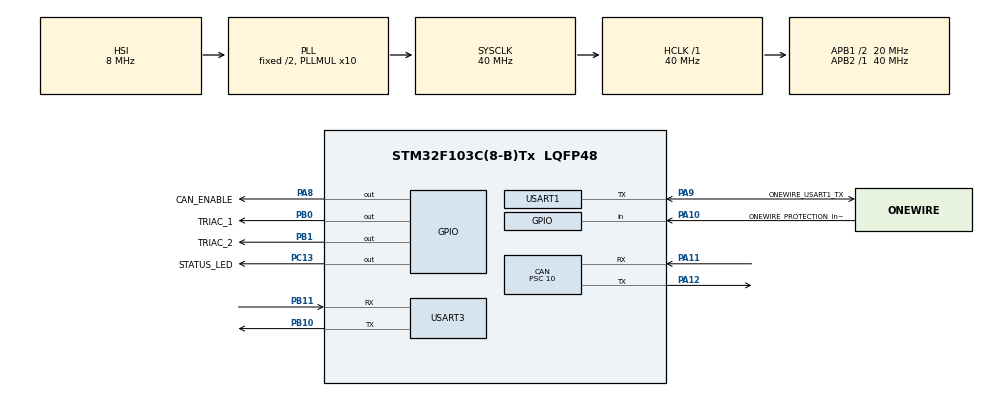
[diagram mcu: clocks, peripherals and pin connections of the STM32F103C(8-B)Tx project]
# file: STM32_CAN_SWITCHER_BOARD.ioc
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CAN.BS1=CAN_BS1_13TQ
CAN.BS2=CAN_BS2_2TQ
CAN.CalculateBaudRate=125000
CAN.CalculateTimeBit=8000
CAN.CalculateTimeQuantum=500.0
CAN.Prescaler=10
Dma.Request0=USART3_TX
Dma.Request1=USART1_RX
Dma.Request2=USART1_TX
Dma.USART1_RX.1.Direction=DMA_PERIPH_TO_MEMORY
Dma.USART1_RX.1.Instance=DMA1_Channel5
Dma.USART1_RX.1.MemDataAlignment=DMA_MDATAALIGN_BYTE
Dma.USART1_RX.1.MemInc=DMA_MINC_ENABLE
Dma.USART1_RX.1.Mode=DMA_NORMAL
Dma.USART1_RX.1.PeriphDataAlignment=DMA_PDATAALIGN_BYTE
Dma.USART1_RX.1.PeriphInc=DMA_PINC_DISABLE
Dma.USART1_RX.1.Priority=DMA_PRIORITY_LOW
Dma.USART1_TX.2.Direction=DMA_MEMORY_TO_PERIPH
Dma.USART1_TX.2.Instance=DMA1_Channel4
Dma.USART1_TX.2.MemDataAlignment=DMA_MDATAALIGN_BYTE
Dma.USART1_TX.2.MemInc=DMA_MINC_ENABLE
Dma.USART1_TX.2.Mode=DMA_NORMAL
Dma.USART1_TX.2.PeriphDataAlignment=DMA_PDATAALIGN_BYTE
Dma.USART1_TX.2.PeriphInc=DMA_PINC_DISABLE
Dma.USART1_TX.2.Priority=DMA_PRIORITY_LOW
Dma.USART3_TX.0.Direction=DMA_MEMORY_TO_PERIPH
Dma.USART3_TX.0.Instance=DMA1_Channel2
Dma.USART3_TX.0.MemDataAlignment=DMA_MDATAALIGN_BYTE
Dma.USART3_TX.0.MemInc=DMA_MINC_ENABLE
Dma.USART3_TX.0.Mode=DMA_NORMAL
Dma.USART3_TX.0.PeriphDataAlignment=DMA_PDATAALIGN_BYTE
Dma.USART3_TX.0.PeriphInc=DMA_PINC_DISABLE
Dma.USART3_TX.0.Priority=DMA_PRIORITY_LOW
Mcu.Family=STM32F1
Mcu.Name=STM32F103C(8-B)Tx
Mcu.Package=LQFP48
NVIC.DMA1_Channel2_IRQn=true\:0\:0\:false\:false\:true\:false\:true\:true
NVIC.DMA1_Channel4_IRQn=true\:0\:0\:false\:false\:true\:false\:true\:true
NVIC.DMA1_Channel5_IRQn=true\:0\:0\:false\:false\:true\:false\:true\:true
NVIC.PriorityGroup=NVIC_PRIORITYGROUP_4
NVIC.TIM4_IRQn=true\:0\:0\:false\:false\:true\:true\:true\:true
NVIC.USART1_IRQn=true\:0\:0\:false\:false\:true\:true\:true\:true
NVIC.USART3_IRQn=true\:0\:0\:false\:false\:true\:true\:true\:true
PA10.GPIO_Label=ONEWIRE_PROTECTION_Input
PA10.GPIO_PuPd=GPIO_PULLUP
PA10.Signal=GPIO_Input
PA11.Mode=CAN_Activate
PA11.Signal=CAN_RX
PA12.Mode=CAN_Activate
PA12.Signal=CAN_TX
PA13.Mode=Serial_Wire
PA13.Signal=SYS_JTMS-SWDIO
PA14.Mode=Serial_Wire
PA14.Signal=SYS_JTCK-SWCLK
PA8.GPIO_Label=CAN_ENABLE
PA8.Signal=GPIO_Output
PA9.GPIO_Label=ONEWIRE_USART1_TX
PA9.Mode=Half_duplex(single_wire_mode)
PA9.Signal=USART1_TX
PB0.GPIO_Label=TRIAC_1
PB0.GPIO_ModeDefaultOutputPP=GPIO_MODE_OUTPUT_OD
PB0.GPIO_PuPd=GPIO_NOPULL
PB0.PinState=GPIO_PIN_SET
PB0.Signal=GPIO_Output
PB1.GPIO_Label=TRIAC_2
PB1.GPIO_ModeDefaultOutputPP=GPIO_MODE_OUTPUT_OD
PB1.GPIO_PuPd=GPIO_NOPULL
PB1.PinState=GPIO_PIN_SET
PB1.Signal=GPIO_Output
PB10.Mode=Asynchronous
PB10.Signal=USART3_TX
PB11.Mode=Asynchronous
PB11.Signal=USART3_RX
PC13-TAMPER-RTC.GPIO_Label=STATUS_LED
PC13-TAMPER-RTC.GPIO_ModeDefaultOutputPP=GPIO_MODE_OUTPUT_PP
PC13-TAMPER-RTC.GPIO_PuPd=GPIO_NOPULL
PC13-TAMPER-RTC.Signal=GPIO_Output
ProjectManager.HeapSize=0x200
ProjectManager.StackSize=0x400
ProjectManager.TargetToolchain=Makefile
RCC.AHBFreq_Value=40000000
RCC.APB1CLKDivider=RCC_HCLK_DIV2
RCC.APB1Freq_Value=20000000
RCC.APB1TimFreq_Value=40000000
RCC.APB2Freq_Value=40000000
RCC.APB2TimFreq_Value=40000000
RCC.HCLKFreq_Value=40000000
RCC.PLLMUL=RCC_PLL_MUL10
RCC.SYSCLKFreq_VALUE=40000000
RCC.SYSCLKSource=RCC_SYSCLKSOURCE_PLLCLK
RCC.USBFreq_Value=40000000
TIM4.AutoReloadPreload=TIM_AUTORELOAD_PRELOAD_ENABLE
TIM4.Period=100
TIM4.Prescaler=40
USART1.VirtualMode=VM_ASYNC
USART3.VirtualMode=VM_ASYNC
VP_TIM4_VS_ClockSourceINT.Mode=Internal
board=custom

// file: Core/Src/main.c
/* USER CODE BEGIN Header */
/**
  ******************************************************************************
  * @file           : main.c
  * @brief          : Main program body
  ******************************************************************************
  * @attention
  *
  * Copyright (c) 2022 STMicroelectronics.
  * All rights reserved.
  *
  * This software is licensed under terms that can be found in the LICENSE file
  * in the root directory of this software component.
  * If no LICENSE file comes with this software, it is provided AS-IS.
  *
  ******************************************************************************
  */
/* USER CODE END Header */
#include "main.h"

/* USER CODE BEGIN Includes */
#include <stdio.h>
#include "DallasTemperature.h"
#include "OneWire.h"
/* USER CODE END Includes */

CAN_HandleTypeDef hcan;

TIM_HandleTypeDef htim4;

UART_HandleTypeDef huart1;
UART_HandleTypeDef huart3;
DMA_HandleTypeDef hdma_usart1_rx;
DMA_HandleTypeDef hdma_usart1_tx;
DMA_HandleTypeDef hdma_usart3_tx;

void SystemClock_Config(void);
static void MX_GPIO_Init(void);
static void MX_DMA_Init(void);
static void MX_CAN_Init(void);
static void MX_USART3_UART_Init(void);
static void MX_TIM4_Init(void);
static void MX_USART1_UART_Init(void);
/* USER CODE BEGIN PFP */

void reset_DS_sensor(void);

/* USER CODE END PFP */

/* USER CODE BEGIN 0 */
/*
  these below suspends warning but may be not good
  https://stackoverflow.com/questions/73742774/gcc-arm-none-eabi-11-3-is-not-implemented-and-will-always-fail
*/
/* suspends warning >>>> */
int _close(int file) { return -1; }
void _lseek(void) {}
void _read(void) {}
int _fstat_r(void) { return -1; }
int _getpid_r(void) { return -1; }
int _isatty_r(void) { return -1; }
int _kill_r(/* struct _reent */ void  *ptr, int pid, int sig) { return -1; }
// int _write(int file, char *ptr, int len) {
//   int todo;
//   for (todo = 0; todo < len; todo++) {
//     // outbyte (*ptr++);
//   }
//   return len;
// }

/* suspends warning <<<< */

int _write(int file, char *ptr, int len)
{
  // HAL_UART_Transmit(&huart3, (uint8_t *)ptr, len, HAL_MAX_DELAY);
  HAL_UART_Transmit_DMA(&huart3, (uint8_t *)ptr, len);
  uint32_t tickstart = 0U;
  tickstart = HAL_GetTick();

  while (HAL_UART_GetState(&huart3) != HAL_UART_STATE_READY)
  {
    if ((HAL_GetTick() - tickstart) > 500)
    {
      // return OW_TIMEOUT;
      return 0;
    }
  }
  return len;
}

//#define BOILER_TEMP_CAN_ID 0x0d0
#define BOILER_TEMP_CAN_ID 0x0d0
//#define RELAY_CONTROL_CAN_ID 0x080
#define RELAY_CONTROL_CAN_ID 0x090
//#define RELAY_STATUS_CAN_ID 0x081
// #define RELAY_STATUS_CAN_ID 0x091
#define PUMP_STATUS_CAN_ID 0x091

#define DATA_WAIT_TIMEOUT 10

CAN_FilterTypeDef sFilterConfig;
CAN_TxHeaderTypeDef TxHeader;
CAN_RxHeaderTypeDef RxHeader;
uint8_t TxData[8];
uint8_t RxData[8];
uint32_t TxMailbox;

// static u8g2_t u8g2;

int32_t temperature;
uint32_t pressure;
uint32_t humidity;
float input_packet_boiler_temperature;
volatile uint8_t relays_status = 0x0;

#define TEMPERATURE_ERROR_TIMEOUT_CNT_MAX  10*1000*5  /* 100 nano 1 tick */
volatile uint32_t temperature_error_timeout_cnt = 0;

volatile uint8_t input_packet_boiler_timeout = 0;

/* for human testing */
// #define PUMP_TEMP_HIST_ON   (int16_t)25
// #define PUMP_TEMP_HIST_OFF  (int16_t)22

/* real */
#define PUMP_TEMP_HIST_ON   (int16_t)55
#define PUMP_TEMP_HIST_OFF  (int16_t)40

volatile uint8_t global_pump_flag = 0; /* on-off flag */

volatile uint8_t global_ds_error = 0;

volatile uint8_t temperature1timeout = 0;
volatile uint8_t temperature2timeout = 0;
volatile uint8_t humidity1timeout = 0;
volatile uint8_t humidity2timeout = 0;

#define GLOBAL_TEMPERATURES_ARRAY_LENGTH  5
volatile uint8_t global_temperatures_array_cnt = 0;
volatile int16_t global_temperatures_array[GLOBAL_TEMPERATURES_ARRAY_LENGTH] = {-127};

// Function to sort the array using Bubble Sort
void bubbleSort(int16_t *arr, uint8_t arr_l)
{
  uint8_t i, j;
  for (i = 0; i < arr_l - 1; i++)
  {
    for (j = 0; j < arr_l - i - 1; j++)
    {
      if (arr[j] > arr[j + 1])
      {
        // Swap temp and arr[i]
        int16_t temp = arr[j];
        arr[j] = arr[j + 1];
        arr[j + 1] = temp;
      }
    }
  }
}

// Function to calculate mean of middle three values
int16_t meanOfMiddleThreeOfFive(int16_t * arr/* , uint8_t arr_l */) {
    uint8_t arr_l = 5;

    bubbleSort(arr, arr_l);  // Sort the array
    return (arr[1] + arr[2] + arr[3]) / 3;  // Sum and divide middle three values
}

// int main() {
//     float tempValues[5] = {34.5, 36.1, 37.2, 35.5, 33.8};
//     float mean = meanOfMiddleThree(tempValues, 5);
//     printf("Mean of middle three temperatures: %f\n", mean);
//     return 0;
// }

// function to print a device address
void printAddress(CurrentDeviceAddress deviceAddress)
{
  for (uint8_t i = 0; i < 8; i++)
  {
    char buf[4];
    sprintf(buf, "%02X ", deviceAddress[i]);
    printf(buf);
  }
}

void read_and_send_ds_data(void) {
  printf("Requesting temperatures...");

  char buf[50];
  DT_RequestTemperatures(); // Send the command to get temperatures
  printf("DONE\r\n");
  // After we got the temperatures, we can print them here.
  // We use the function ByIndex, and as an example get the temperature from the first sensor only.
  printf("Temperature for the device 1 (index 0) is: ");

  float ds_temperature = DEVICE_DISCONNECTED_C;
  int8_t err_c = DT_GetTempCByIndex(0, &ds_temperature);
  // float ds_temperature = DT_GetTempCByIndex(0);
  // sprintf(buf, "\n ds_temperature %.4f\r\n", ds_temperature);
  sprintf(buf, "\n err_c %i ds_temperature %f\r\n", err_c, ds_temperature);
  printf(buf);

  float value = ds_temperature;
  int value_int = (int)(value * 1000);               // Convert to an integer with 3 decimal places preserved
  printf("ds_temperature = %d.%d\n", value_int / 1000, value_int % 1000); // Print as two integers

  /* set global_temperatures_array >>> */
  global_temperatures_array[global_temperatures_array_cnt] = (int16_t)ds_temperature;
  global_temperatures_array_cnt++;
  if (global_temperatures_array_cnt >= GLOBAL_TEMPERATURES_ARRAY_LENGTH) {
    global_temperatures_array_cnt = 0;
  }
  /* set global_temperatures_array calc mean temp<<< */

  /* calc mean temp >>> */
  uint8_t temp_arr_l = 5;
  int16_t temp_arr[5] = {0};
  for (uint8_t i = 0; i < temp_arr_l; i++)
  {
    temp_arr[i] = global_temperatures_array[i];
  }
  int16_t mean_temp = meanOfMiddleThreeOfFive(temp_arr);
  printf("mean_temp %d\n", mean_temp);
  // int16_t temp_arr_test[5] = {0, 10, 12, 23, 100};
  // int16_t mean_temp_test = meanOfMiddleThreeOfFive(temp_arr_test);
  // printf("mean_temp_test 15 == %d?\n", mean_temp_test);

  /* calc mean temp <<< */

  /* temperature_error_timeout_cnt <<< */
  if (err_c == 0) {
    temperature_error_timeout_cnt = 0;
  }
  /* temperature_error_timeout_cnt <<< */

  /* check if pump need to be ON >>> */

  uint8_t tmp_flag = global_pump_flag;
  /* if already OFF */
  if (tmp_flag == 0) {
    if (mean_temp >= PUMP_TEMP_HIST_ON) {
      tmp_flag = 1;
    }
  /* if already ON */
  } else {
    if (mean_temp <= PUMP_TEMP_HIST_OFF) {
      tmp_flag = 0;
    }
  }

  if (temperature_error_timeout_cnt >= TEMPERATURE_ERROR_TIMEOUT_CNT_MAX) {
    printf("temperature_error_timeout_cnt > MAX VALUE\n");

    /* force ON */
    tmp_flag = 1;
  }

  global_pump_flag = tmp_flag;

  if (global_pump_flag > 0) {
    /* low lvl active */
    HAL_GPIO_WritePin(TRIAC_1_GPIO_Port, TRIAC_1_Pin, 0);
  } else {
    HAL_GPIO_WritePin(TRIAC_1_GPIO_Port, TRIAC_1_Pin, 1);
  }

  /* check if pump need to be ON <<< */

  TxHeader.StdId = BOILER_TEMP_CAN_ID;
  TxHeader.DLC = 5;
  uint8_t protection_staus = HAL_GPIO_ReadPin(ONEWIRE_PROTECTION_Input_GPIO_Port, ONEWIRE_PROTECTION_Input_Pin);
  printf("ds_short circuit = %d\n", protection_staus); // Print as two integers

  /* set onewire reading error */
  uint8_t temp_sens_error = err_c;
  /* set power short circuit protection */
  if (protection_staus == 0) { /* low means protection was triggered */
    temp_sens_error = temp_sens_error | 0b10000000;
  }

  TxData[0] = temp_sens_error;

  /* copy temperature value */
  for (int i=0; i<4 ;++i) {
    TxData[i + 1] = ((uint8_t*)&ds_temperature)[i];
  }
  HAL_CAN_AddTxMessage(&hcan, &TxHeader, TxData, &TxMailbox);

  /* try to reset ds setting after disconnect */
  if (global_ds_error != 0) {
    if (temp_sens_error == 0) {
      printf("\ntry to reset ds settings\n");
      reset_DS_sensor();
    }
  }
  global_ds_error = temp_sens_error;

  // HAL_Delay(2500);
  // /* send relays status */
  // TxHeader.StdId = RELAY_STATUS_CAN_ID;
  // TxHeader.DLC = 1;
  // TxData[0] = relays_status;
  // HAL_CAN_AddTxMessage(&hcan, &TxHeader, TxData, &TxMailbox);
}

void reset_DS_sensor(void)
{

  // locate devices on the bus
  char buf[30];

  // arrays to hold device address
  CurrentDeviceAddress insideThermometer;

  uint8_t ds_error = 0;

  OW_Reset();

  if (OW_Reset() == OW_OK)
  {
    printf("[%8lu] OneWire 1 line devices are present :)\r\n", HAL_GetTick());
  }
  else
  {
    printf("[%8lu] OneWire 1 line no devices :(\r\n", HAL_GetTick());
  }

  DT_SetWaitForConversion(1);

  printf("Locating devices...\n");
  ds_error = DT_Begin();
  if (ds_error != DS_OK)
  {
    sprintf(buf, "DT_Begin err %d \n", ds_error);
    printf(buf);
  }

  printf("Found ");
  sprintf(buf, "%d devices.\n", DT_GetDeviceCount());
  printf(buf);

  // report parasite power requirements
  printf("Parasite power is: ");
  if (DT_IsParasitePowerMode())
    printf("ON\r\n");
  else
    printf("OFF\r\n");

  if (!DT_GetAddress(insideThermometer, 0))
    printf("Unable to find address for Device 0\r\n");

  printf("Device 0 Address: ");
  printAddress(insideThermometer);
  printf("\r\n");

  // set the resolution to 12 bit (Each Dallas/Maxim device is capable of several different resolutions)
  DT_SetResolution(insideThermometer, 12, true);

  printf("Device 0 Resolution: ");
  sprintf(buf, "%d", DT_GetResolution(insideThermometer));
  printf(buf);
  printf("\r\n");
}

/* USER CODE END 0 */

int main(void)
{

  /* MCU Configuration--------------------------------------------------------*/

  /* Reset of all peripherals, Initializes the Flash interface and the Systick. */
  HAL_Init();

  /* Configure the system clock */
  SystemClock_Config();

  /* Initialize all configured peripherals */
  MX_GPIO_Init();
  MX_DMA_Init();
  MX_CAN_Init();
  MX_USART3_UART_Init();
  MX_TIM4_Init();
  MX_USART1_UART_Init();
  /* USER CODE BEGIN 2 */

  /* they are open drain and ON if low lvl */
  HAL_GPIO_WritePin(TRIAC_1_GPIO_Port, TRIAC_1_Pin, 1);
  HAL_GPIO_WritePin(TRIAC_2_GPIO_Port, TRIAC_2_Pin, 1);

  HAL_GPIO_WritePin(CAN_ENABLE_GPIO_Port, CAN_ENABLE_Pin, GPIO_PIN_RESET);

  sFilterConfig.FilterBank = 0;
  sFilterConfig.FilterMode = CAN_FILTERMODE_IDMASK;
  sFilterConfig.FilterScale = CAN_FILTERSCALE_32BIT;
  sFilterConfig.FilterIdHigh = 0x0000;
  sFilterConfig.FilterIdLow = 0x0000;
  sFilterConfig.FilterMaskIdHigh = 0x0000;
  sFilterConfig.FilterMaskIdLow = 0x0000;
  sFilterConfig.FilterFIFOAssignment = CAN_RX_FIFO0;
  sFilterConfig.FilterActivation = ENABLE;
  sFilterConfig.SlaveStartFilterBank = 14;
  if (HAL_CAN_ConfigFilter(&hcan, &sFilterConfig) != HAL_OK)
  {
    /* Filter configuration Error */
    Error_Handler();
  }

  if (HAL_CAN_Start(&hcan) != HAL_OK)
  {
    /* Start Error */
    Error_Handler();
  }

  if (HAL_CAN_ActivateNotification(&hcan, CAN_IT_RX_FIFO0_MSG_PENDING | CAN_IT_TX_MAILBOX_EMPTY) != HAL_OK)
  {
    /* Notification Error */
    Error_Handler();
  }

  // TxHeader.StdId = BOILER_TEMP_CAN_ID;
  // TxHeader.ExtId = 0x00;
  // TxHeader.RTR = CAN_RTR_DATA;
  // TxHeader.IDE = CAN_ID_STD;
  // TxHeader.DLC = 4;
  // TxHeader.TransmitGlobalTime = DISABLE;
  // TxData[0] = 1;
  // TxData[1] = 2;
  // TxData[2] = 3;
  // TxData[3] = 4;
  printf("Debug UART is OK!\r\n");

  // if (OW_Reset() == OW_OK)
  // {
  //   printf("OneWire devices are present :)\r\n");
  // }
  // else
  // {
  //   printf("OneWire no devices :(\r\n");
  // }

  /* TIMER */
  HAL_TIM_Base_Start_IT(&htim4);
  /* TIMER */

  OW_Init();
  reset_DS_sensor();

  /* USER CODE END 2 */

  /* Infinite loop */
  while (1)
  {

    /* USER CODE BEGIN 3 */

    HAL_GPIO_TogglePin(STATUS_LED_GPIO_Port, STATUS_LED_Pin);
    // HAL_GPIO_TogglePin(TRIAC_1_GPIO_Port, TRIAC_1_Pin);
    // HAL_GPIO_TogglePin(TRIAC_2_GPIO_Port, TRIAC_2_Pin);

    read_and_send_ds_data();

    // HAL_Delay(250);
    // HAL_Delay(1000);
    // HAL_Delay(2500);
  }
  /* USER CODE END 3 */
}

void SystemClock_Config(void)
{
  RCC_OscInitTypeDef RCC_OscInitStruct = {0};
  RCC_ClkInitTypeDef RCC_ClkInitStruct = {0};

  /** Initializes the RCC Oscillators according to the specified parameters
  * in the RCC_OscInitTypeDef structure.
  */
  RCC_OscInitStruct.OscillatorType = RCC_OSCILLATORTYPE_HSI;
  RCC_OscInitStruct.HSIState = RCC_HSI_ON;
  RCC_OscInitStruct.HSICalibrationValue = RCC_HSICALIBRATION_DEFAULT;
  RCC_OscInitStruct.PLL.PLLState = RCC_PLL_ON;
  RCC_OscInitStruct.PLL.PLLSource = RCC_PLLSOURCE_HSI_DIV2;
  RCC_OscInitStruct.PLL.PLLMUL = RCC_PLL_MUL10;
  if (HAL_RCC_OscConfig(&RCC_OscInitStruct) != HAL_OK)
  {
    Error_Handler();
  }

  /** Initializes the CPU, AHB and APB buses clocks
  */
  RCC_ClkInitStruct.ClockType = RCC_CLOCKTYPE_HCLK|RCC_CLOCKTYPE_SYSCLK
                              |RCC_CLOCKTYPE_PCLK1|RCC_CLOCKTYPE_PCLK2;
  RCC_ClkInitStruct.SYSCLKSource = RCC_SYSCLKSOURCE_PLLCLK;
  RCC_ClkInitStruct.AHBCLKDivider = RCC_SYSCLK_DIV1;
  RCC_ClkInitStruct.APB1CLKDivider = RCC_HCLK_DIV2;
  RCC_ClkInitStruct.APB2CLKDivider = RCC_HCLK_DIV1;

  if (HAL_RCC_ClockConfig(&RCC_ClkInitStruct, FLASH_LATENCY_1) != HAL_OK)
  {
    Error_Handler();
  }
}

static void MX_CAN_Init(void)
{

  hcan.Instance = CAN1;
  hcan.Init.Prescaler = 10;
  hcan.Init.Mode = CAN_MODE_NORMAL;
  hcan.Init.SyncJumpWidth = CAN_SJW_1TQ;
  hcan.Init.TimeSeg1 = CAN_BS1_13TQ;
  hcan.Init.TimeSeg2 = CAN_BS2_2TQ;
  hcan.Init.TimeTriggeredMode = DISABLE;
  hcan.Init.AutoBusOff = DISABLE;
  hcan.Init.AutoWakeUp = DISABLE;
  hcan.Init.AutoRetransmission = DISABLE;
  hcan.Init.ReceiveFifoLocked = DISABLE;
  hcan.Init.TransmitFifoPriority = DISABLE;
  if (HAL_CAN_Init(&hcan) != HAL_OK)
  {
    Error_Handler();
  }

}

static void MX_TIM4_Init(void)
{

  TIM_ClockConfigTypeDef sClockSourceConfig = {0};
  TIM_MasterConfigTypeDef sMasterConfig = {0};

  htim4.Instance = TIM4;
  htim4.Init.Prescaler = 40;
  htim4.Init.CounterMode = TIM_COUNTERMODE_UP;
  htim4.Init.Period = 100;
  htim4.Init.ClockDivision = TIM_CLOCKDIVISION_DIV1;
  htim4.Init.AutoReloadPreload = TIM_AUTORELOAD_PRELOAD_ENABLE;
  if (HAL_TIM_Base_Init(&htim4) != HAL_OK)
  {
    Error_Handler();
  }
  sClockSourceConfig.ClockSource = TIM_CLOCKSOURCE_INTERNAL;
  if (HAL_TIM_ConfigClockSource(&htim4, &sClockSourceConfig) != HAL_OK)
  {
    Error_Handler();
  }
  sMasterConfig.MasterOutputTrigger = TIM_TRGO_RESET;
  sMasterConfig.MasterSlaveMode = TIM_MASTERSLAVEMODE_DISABLE;
  if (HAL_TIMEx_MasterConfigSynchronization(&htim4, &sMasterConfig) != HAL_OK)
  {
    Error_Handler();
  }

}

static void MX_USART1_UART_Init(void)
{

  huart1.Instance = USART1;
  huart1.Init.BaudRate = 115200;
  huart1.Init.WordLength = UART_WORDLENGTH_8B;
  huart1.Init.StopBits = UART_STOPBITS_1;
  huart1.Init.Parity = UART_PARITY_NONE;
  huart1.Init.Mode = UART_MODE_TX_RX;
  huart1.Init.HwFlowCtl = UART_HWCONTROL_NONE;
  huart1.Init.OverSampling = UART_OVERSAMPLING_16;
  if (HAL_HalfDuplex_Init(&huart1) != HAL_OK)
  {
    Error_Handler();
  }

}

static void MX_USART3_UART_Init(void)
{

  huart3.Instance = USART3;
  huart3.Init.BaudRate = 115200;
  huart3.Init.WordLength = UART_WORDLENGTH_8B;
  huart3.Init.StopBits = UART_STOPBITS_1;
  huart3.Init.Parity = UART_PARITY_NONE;
  huart3.Init.Mode = UART_MODE_TX_RX;
  huart3.Init.HwFlowCtl = UART_HWCONTROL_NONE;
  huart3.Init.OverSampling = UART_OVERSAMPLING_16;
  if (HAL_UART_Init(&huart3) != HAL_OK)
  {
    Error_Handler();
  }

}

static void MX_DMA_Init(void)
{

  /* DMA controller clock enable */
  __HAL_RCC_DMA1_CLK_ENABLE();

  /* DMA interrupt init */
  /* DMA1_Channel2_IRQn interrupt configuration */
  HAL_NVIC_SetPriority(DMA1_Channel2_IRQn, 0, 0);
  HAL_NVIC_EnableIRQ(DMA1_Channel2_IRQn);
  /* DMA1_Channel4_IRQn interrupt configuration */
  HAL_NVIC_SetPriority(DMA1_Channel4_IRQn, 0, 0);
  HAL_NVIC_EnableIRQ(DMA1_Channel4_IRQn);
  /* DMA1_Channel5_IRQn interrupt configuration */
  HAL_NVIC_SetPriority(DMA1_Channel5_IRQn, 0, 0);
  HAL_NVIC_EnableIRQ(DMA1_Channel5_IRQn);

}

static void MX_GPIO_Init(void)
{
  GPIO_InitTypeDef GPIO_InitStruct = {0};

  /* GPIO Ports Clock Enable */
  __HAL_RCC_GPIOC_CLK_ENABLE();
  __HAL_RCC_GPIOB_CLK_ENABLE();
  __HAL_RCC_GPIOA_CLK_ENABLE();

  /*Configure GPIO pin Output Level */
  HAL_GPIO_WritePin(STATUS_LED_GPIO_Port, STATUS_LED_Pin, GPIO_PIN_RESET);

  /*Configure GPIO pin Output Level */
  HAL_GPIO_WritePin(GPIOB, TRIAC_1_Pin|TRIAC_2_Pin, GPIO_PIN_SET);

  /*Configure GPIO pin Output Level */
  HAL_GPIO_WritePin(CAN_ENABLE_GPIO_Port, CAN_ENABLE_Pin, GPIO_PIN_RESET);

  /*Configure GPIO pin : STATUS_LED_Pin */
  GPIO_InitStruct.Pin = STATUS_LED_Pin;
  GPIO_InitStruct.Mode = GPIO_MODE_OUTPUT_PP;
  GPIO_InitStruct.Pull = GPIO_NOPULL;
  GPIO_InitStruct.Speed = GPIO_SPEED_FREQ_LOW;
  HAL_GPIO_Init(STATUS_LED_GPIO_Port, &GPIO_InitStruct);

  /*Configure GPIO pins : TRIAC_1_Pin TRIAC_2_Pin */
  GPIO_InitStruct.Pin = TRIAC_1_Pin|TRIAC_2_Pin;
  GPIO_InitStruct.Mode = GPIO_MODE_OUTPUT_OD;
  GPIO_InitStruct.Pull = GPIO_NOPULL;
  GPIO_InitStruct.Speed = GPIO_SPEED_FREQ_LOW;
  HAL_GPIO_Init(GPIOB, &GPIO_InitStruct);

  /*Configure GPIO pin : CAN_ENABLE_Pin */
  GPIO_InitStruct.Pin = CAN_ENABLE_Pin;
  GPIO_InitStruct.Mode = GPIO_MODE_OUTPUT_PP;
  GPIO_InitStruct.Pull = GPIO_NOPULL;
  GPIO_InitStruct.Speed = GPIO_SPEED_FREQ_LOW;
  HAL_GPIO_Init(CAN_ENABLE_GPIO_Port, &GPIO_InitStruct);

  /*Configure GPIO pin : ONEWIRE_PROTECTION_Input_Pin */
  GPIO_InitStruct.Pin = ONEWIRE_PROTECTION_Input_Pin;
  GPIO_InitStruct.Mode = GPIO_MODE_INPUT;
  GPIO_InitStruct.Pull = GPIO_PULLUP;
  HAL_GPIO_Init(ONEWIRE_PROTECTION_Input_GPIO_Port, &GPIO_InitStruct);

}

/* USER CODE BEGIN 4 */

void HAL_CAN_TxMailbox0CompleteCallback(CAN_HandleTypeDef *hcan_)
{
//  HAL_GPIO_TogglePin(GPIOC, LED_Pin);
}

void HAL_CAN_RxFifo0MsgPendingCallback(CAN_HandleTypeDef *hcan_)
{
  // HAL_CAN_GetRxMessage(&hcan, CAN_RX_FIFO0, &RxHeader, RxData);
//  HAL_GPIO_TogglePin(GPIOC, LED_Pin);
//
//   uint32_t u;
//    u = RxData[0];
//    u += (uint32_t)(RxData[1] << 8);
//    u += (uint32_t)(RxData[2] << 16);
//    u += (uint32_t)(RxData[3] << 24);
//
//
//
//
//  if(RxHeader.StdId==0xf0){
//    pressure = u;
//  }else if(RxHeader.StdId==0xf0+1){
//    temperature = u;
//    temperature1timeout = 0;
//    temperature2timeout = 0;
//  }else if(RxHeader.StdId==0xf0+2){
//    humidity = u;
//    humidity1timeout = 0;
//    humidity2timeout = 0;
//  }else if(RxHeader.StdId==RELAY_CONTROL_CAN_ID){
//    Control_peripheral_relays(RxData[0]);
//  }else if(RxHeader.StdId==BOILER_TEMP_CAN_ID){
//    input_packet_boiler_temperature = u;
//    for (int i=0; i<4 ;++i) {
//      ((uint8_t*)&input_packet_boiler_temperature)[i] = RxData[i];
//    }
//    input_packet_boiler_timeout = 0;
//  }
}

uint16_t pump_status_send_cnt = 0;

void HAL_TIM_PeriodElapsedCallback(TIM_HandleTypeDef *htim)
{

  if (htim->Instance == TIM4)
  {
    temperature_error_timeout_cnt++;
    if (temperature_error_timeout_cnt >= TEMPERATURE_ERROR_TIMEOUT_CNT_MAX) {
      temperature_error_timeout_cnt = TEMPERATURE_ERROR_TIMEOUT_CNT_MAX;

    }

    pump_status_send_cnt++;
    if (pump_status_send_cnt >= 10*300) {
      pump_status_send_cnt = 0;

      TxHeader.StdId = PUMP_STATUS_CAN_ID;
      TxHeader.DLC = 1;
      /* set pump status */
      TxData[0] = global_pump_flag;

      HAL_CAN_AddTxMessage(&hcan, &TxHeader, TxData, &TxMailbox);

      // HAL_GPIO_TogglePin(TRIAC_2_GPIO_Port, TRIAC_2_Pin);
    }
  }

  // if (htim->Instance == TIM1)
  // {
  //   //  HAL_GPIO_TogglePin(GPIOC, LED_Pin);
  //   ++temperature1timeout;
  //   ++temperature2timeout;
  //   ++humidity1timeout;
  //   ++humidity2timeout;
  //   ++input_packet_boiler_timeout;

  //   if (temperature1timeout >= DATA_WAIT_TIMEOUT)
  //   {
  //     temperature1timeout = DATA_WAIT_TIMEOUT;
  //   }

  //   if (temperature2timeout >= DATA_WAIT_TIMEOUT)
  //   {
  //     temperature2timeout = DATA_WAIT_TIMEOUT;
  //   }

  //   if (humidity1timeout >= DATA_WAIT_TIMEOUT)
  //   {
  //     humidity1timeout = DATA_WAIT_TIMEOUT;
  //   }

  //   if (humidity2timeout >= DATA_WAIT_TIMEOUT)
  //   {
  //     humidity2timeout = DATA_WAIT_TIMEOUT;
  //   }

  //   if (input_packet_boiler_timeout >= DATA_WAIT_TIMEOUT)
  //   {
  //     input_packet_boiler_timeout = DATA_WAIT_TIMEOUT;
  //   }
  // }
}

/* USER CODE END 4 */

void Error_Handler(void)
{
  __disable_irq();
  while (1)
  {
  }
}
